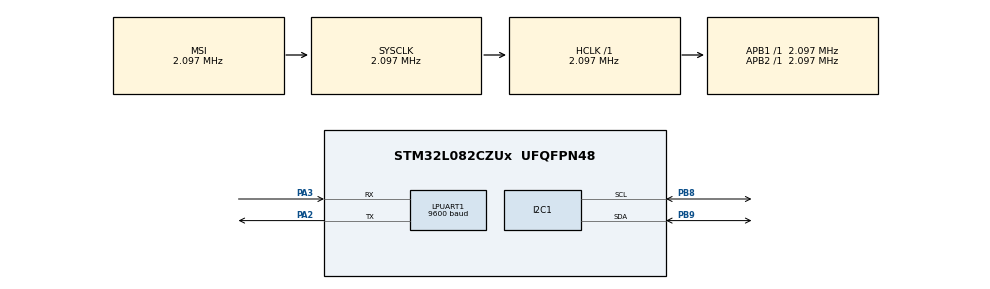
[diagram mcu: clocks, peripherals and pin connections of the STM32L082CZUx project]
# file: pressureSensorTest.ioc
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LPUART1.BaudRate=9600
LPUART1.WordLength=UART_WORDLENGTH_8B
Mcu.Family=STM32L0
Mcu.Name=STM32L082CZUx
Mcu.Package=UFQFPN48
PA2.Mode=Asynchronous
PA2.Signal=LPUART1_TX
PA3.Mode=Asynchronous
PA3.Signal=LPUART1_RX
PB8.Mode=I2C
PB8.Signal=I2C1_SCL
PB9.Mode=I2C
PB9.Signal=I2C1_SDA
ProjectManager.HeapSize=0x200
ProjectManager.StackSize=0x400
ProjectManager.TargetToolchain=STM32CubeIDE
RCC.AHBFreq_Value=2097000
RCC.APB1Freq_Value=2097000
RCC.APB1TimFreq_Value=2097000
RCC.APB2Freq_Value=2097000
RCC.APB2TimFreq_Value=2097000
RCC.HSE_VALUE=8000000
RCC.HSI16_VALUE=16000000
RCC.HSI48_VALUE=48000000
RCC.HSI_VALUE=16000000
RCC.LSE_VALUE=32768
RCC.MSI_VALUE=2097000
RCC.SYSCLKFreq_VALUE=2097000
RCC.VCOOutputFreq_Value=48000000
board=custom

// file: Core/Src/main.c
/* USER CODE BEGIN Header */
/**
  ******************************************************************************
  * @file           : main.c
  * @brief          : Main program body
  ******************************************************************************
  * @attention
  *
  * <h2><center>&copy; Copyright (c) 2020 STMicroelectronics.
  * All rights reserved.</center></h2>
  *
  * This software component is licensed by ST under BSD 3-Clause license,
  * the "License"; You may not use this file except in compliance with the
  * License. You may obtain a copy of the License at:
  *                        opensource.org/licenses/BSD-3-Clause
  *
  ******************************************************************************
  */
/* USER CODE END Header */

#include "main.h"

/* USER CODE BEGIN Includes */
#include "pressureSensorDecaplo.h"
#include <string.h>
#include <stdio.h>
/* USER CODE END Includes */

I2C_HandleTypeDef hi2c1;

UART_HandleTypeDef hlpuart1;

/* USER CODE BEGIN PV */
static const uint8_t  UART_BUF_SIZE = 64;
/* USER CODE END PV */

void SystemClock_Config(void);
static void MX_GPIO_Init(void);
static void MX_I2C1_Init(void);
static void MX_LPUART1_UART_Init(void);

int main(void)
{
  /* USER CODE BEGIN 1 */
  uint8_t uartBuf[UART_BUF_SIZE];
  uint32_t pressure;
  uint8_t temperature;
  /* USER CODE END 1 */

  /* MCU Configuration--------------------------------------------------------*/

  /* Reset of all peripherals, Initializes the Flash interface and the Systick. */
  HAL_Init();

  /* Configure the system clock */
  SystemClock_Config();

  /* Initialize all configured peripherals */
  MX_GPIO_Init();
  MX_I2C1_Init();
  MX_LPUART1_UART_Init();

  /* Infinite loop */
  /* USER CODE BEGIN WHILE */
  while (1)
  {
    // Read m32 pressure sensor values
    wakeup();
    int err = read_pressure(&hi2c1, &pressure, &temperature);
    suspend();
    if(err != 0) {
      strncpy((char*)uartBuf, "Couldn't read m32 value\n\r", UART_BUF_SIZE);
    }

    snprintf((char*)uartBuf, UART_BUF_SIZE, "Pressure = %lu millibar; Temperature = %u C\n\r",
               pressure, temperature);

    // Print out buffer (data or error message)
    HAL_UART_Transmit(&hlpuart1, uartBuf, strlen((char*)uartBuf), HAL_MAX_DELAY);

    // Wait
    HAL_Delay(5000);

    /* USER CODE END WHILE */

  }
}

void SystemClock_Config(void)
{
  RCC_OscInitTypeDef RCC_OscInitStruct = {0};
  RCC_ClkInitTypeDef RCC_ClkInitStruct = {0};
  RCC_PeriphCLKInitTypeDef PeriphClkInit = {0};

  /** Configure the main internal regulator output voltage
  */
  __HAL_PWR_VOLTAGESCALING_CONFIG(PWR_REGULATOR_VOLTAGE_SCALE1);
  /** Initializes the CPU, AHB and APB busses clocks
  */
  RCC_OscInitStruct.OscillatorType = RCC_OSCILLATORTYPE_MSI;
  RCC_OscInitStruct.MSIState = RCC_MSI_ON;
  RCC_OscInitStruct.MSICalibrationValue = 0;
  RCC_OscInitStruct.MSIClockRange = RCC_MSIRANGE_5;
  RCC_OscInitStruct.PLL.PLLState = RCC_PLL_NONE;
  if (HAL_RCC_OscConfig(&RCC_OscInitStruct) != HAL_OK)
  {
    Error_Handler();
  }
  /** Initializes the CPU, AHB and APB busses clocks
  */
  RCC_ClkInitStruct.ClockType = RCC_CLOCKTYPE_HCLK|RCC_CLOCKTYPE_SYSCLK
                              |RCC_CLOCKTYPE_PCLK1|RCC_CLOCKTYPE_PCLK2;
  RCC_ClkInitStruct.SYSCLKSource = RCC_SYSCLKSOURCE_MSI;
  RCC_ClkInitStruct.AHBCLKDivider = RCC_SYSCLK_DIV1;
  RCC_ClkInitStruct.APB1CLKDivider = RCC_HCLK_DIV1;
  RCC_ClkInitStruct.APB2CLKDivider = RCC_HCLK_DIV1;

  if (HAL_RCC_ClockConfig(&RCC_ClkInitStruct, FLASH_LATENCY_0) != HAL_OK)
  {
    Error_Handler();
  }
  PeriphClkInit.PeriphClockSelection = RCC_PERIPHCLK_LPUART1|RCC_PERIPHCLK_I2C1;
  PeriphClkInit.Lpuart1ClockSelection = RCC_LPUART1CLKSOURCE_PCLK1;
  PeriphClkInit.I2c1ClockSelection = RCC_I2C1CLKSOURCE_PCLK1;
  if (HAL_RCCEx_PeriphCLKConfig(&PeriphClkInit) != HAL_OK)
  {
    Error_Handler();
  }
}

static void MX_I2C1_Init(void)
{

  hi2c1.Instance = I2C1;
  hi2c1.Init.Timing = 0x00000708;
  hi2c1.Init.OwnAddress1 = 0;
  hi2c1.Init.AddressingMode = I2C_ADDRESSINGMODE_7BIT;
  hi2c1.Init.DualAddressMode = I2C_DUALADDRESS_DISABLE;
  hi2c1.Init.OwnAddress2 = 0;
  hi2c1.Init.OwnAddress2Masks = I2C_OA2_NOMASK;
  hi2c1.Init.GeneralCallMode = I2C_GENERALCALL_DISABLE;
  hi2c1.Init.NoStretchMode = I2C_NOSTRETCH_DISABLE;
  if (HAL_I2C_Init(&hi2c1) != HAL_OK)
  {
    Error_Handler();
  }
  /** Configure Analogue filter
  */
  if (HAL_I2CEx_ConfigAnalogFilter(&hi2c1, I2C_ANALOGFILTER_ENABLE) != HAL_OK)
  {
    Error_Handler();
  }
  /** Configure Digital filter
  */
  if (HAL_I2CEx_ConfigDigitalFilter(&hi2c1, 0) != HAL_OK)
  {
    Error_Handler();
  }

}

static void MX_LPUART1_UART_Init(void)
{

  hlpuart1.Instance = LPUART1;
  hlpuart1.Init.BaudRate = 9600;
  hlpuart1.Init.WordLength = UART_WORDLENGTH_8B;
  hlpuart1.Init.StopBits = UART_STOPBITS_1;
  hlpuart1.Init.Parity = UART_PARITY_NONE;
  hlpuart1.Init.Mode = UART_MODE_TX_RX;
  hlpuart1.Init.HwFlowCtl = UART_HWCONTROL_NONE;
  hlpuart1.Init.OneBitSampling = UART_ONE_BIT_SAMPLE_DISABLE;
  hlpuart1.AdvancedInit.AdvFeatureInit = UART_ADVFEATURE_NO_INIT;
  if (HAL_UART_Init(&hlpuart1) != HAL_OK)
  {
    Error_Handler();
  }

}

static void MX_GPIO_Init(void)
{

  /* GPIO Ports Clock Enable */
  __HAL_RCC_GPIOA_CLK_ENABLE();
  __HAL_RCC_GPIOB_CLK_ENABLE();

}

void Error_Handler(void)
{
}

/************************ (C) COPYRIGHT STMicroelectronics *****END OF FILE****/
